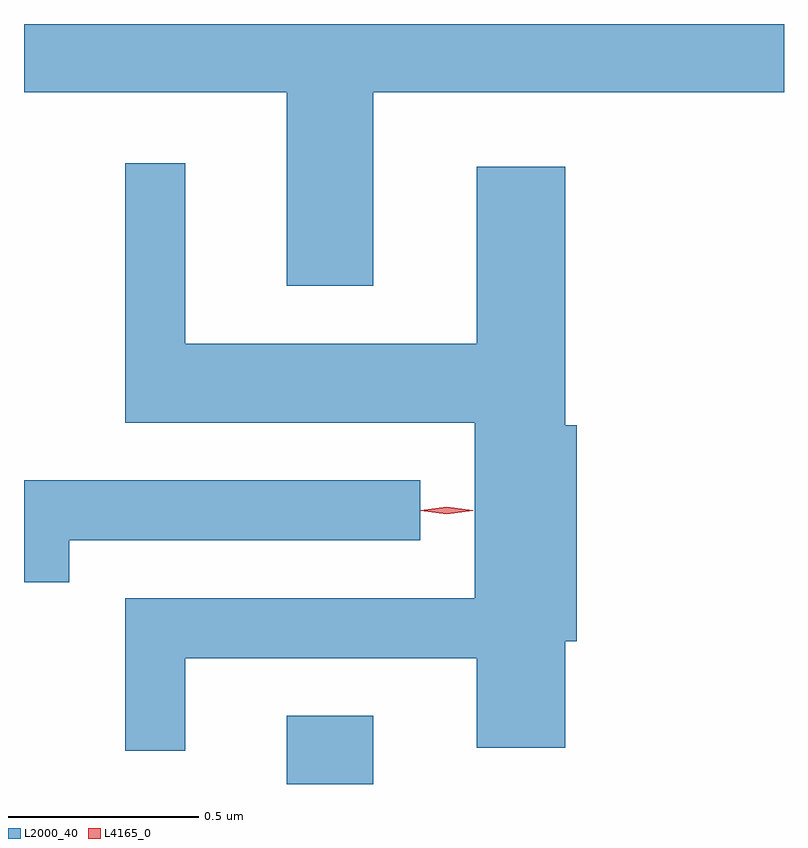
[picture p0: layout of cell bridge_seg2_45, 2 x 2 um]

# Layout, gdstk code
import gdstk
lib = gdstk.Library(unit=1e-6, precision=1e-09)
def R(c, l, rs):  # rectangles x0, y0, x1, y1
    for r in rs: c.add(gdstk.rectangle(r[:2], r[2:], *l))
def P(c, l, *ps):  # polygons
    for p in ps: c.add(gdstk.Polygon(p, *l))
L2000_40 = (2000, 40)
L4165_0 = (4165, 0)

bridge_seg2_45 = lib.new_cell('bridge_seg2_45')
R(bridge_seg2_45, L2000_40, [(1269.631,1059.815,1269.859,1059.994)])
P(bridge_seg2_45, L2000_40, [(1269.859,1061.636),(1270.94,1061.636),(1270.94,1061.815),(1268.94,1061.815),(1268.94,1061.636),(1269.631,1061.636),(1269.631,1061.126),(1269.859,1061.126)],
  [(1269.364,1060.146),(1270.131,1060.146),(1270.131,1059.911),(1270.364,1059.911),(1270.364,1060.191),(1270.394,1060.191),(1270.394,1060.759),(1270.364,1060.759),(1270.364,1061.439),(1270.131,1061.439),(1270.131,1060.974),(1269.364,1060.974),(1269.364,1061.448),(1269.206,1061.448),(1269.206,1060.766),(1270.126,1060.766),(1270.126,1060.304),(1269.206,1060.304),(1269.206,1059.903),(1269.364,1059.903)],
  [(1269.059,1060.456),(1269.983,1060.456),(1269.983,1060.614),(1268.94,1060.614),(1268.94,1060.346),(1269.059,1060.346)])
P(bridge_seg2_45, L4165_0, [(1270.053,1060.525),(1269.984,1060.534),(1269.984,1060.535),(1269.984,1060.535),(1270.053,1060.545),(1270.121,1060.535),(1270.122,1060.534),(1270.121,1060.534)],
  [(1270.052,1060.525),(1269.987,1060.534),(1269.987,1060.535),(1269.987,1060.535),(1270.052,1060.545),(1270.117,1060.535),(1270.117,1060.535),(1270.117,1060.534)])

lib.write_gds('bridge_seg2_45.gds')
